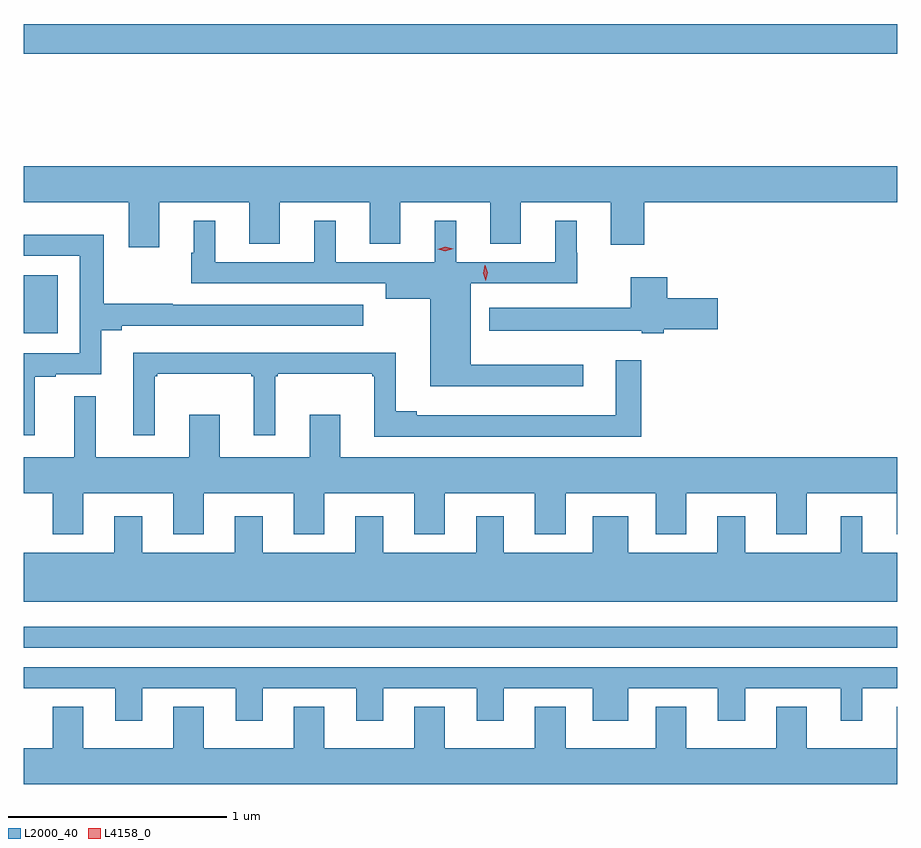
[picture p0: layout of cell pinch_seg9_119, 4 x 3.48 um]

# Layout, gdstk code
import gdstk
lib = gdstk.Library(unit=1e-6, precision=1e-09)
def R(c, l, rs):  # rectangles x0, y0, x1, y1
    for r in rs: c.add(gdstk.rectangle(r[:2], r[2:], *l))
def P(c, l, *ps):  # polygons
    for p in ps: c.add(gdstk.Polygon(p, *l))
L2000_40 = (2000, 40)
L4158_0 = (4158, 0)

pinch_seg9_119 = lib.new_cell('pinch_seg9_119')
R(pinch_seg9_119, L2000_40, [(826.114,1233.009,830.114,1233.105), (826.114,1234.448,826.27,1234.714), (826.114,1235.728,830.114,1235.864)])
P(pinch_seg9_119, L2000_40, [(826.735,1235.048),(827.147,1235.048),(827.147,1234.858),(827.287,1234.858),(827.287,1235.048),(827.699,1235.048),(827.699,1234.858),(827.839,1234.858),(827.839,1235.048),(828.251,1235.048),(828.251,1234.858),(828.391,1234.858),(828.391,1235.048),(828.803,1235.048),(828.803,1234.854),(828.956,1234.854),(828.956,1235.048),(830.114,1235.048),(830.114,1235.212),(826.114,1235.212),(826.114,1235.048),(826.595,1235.048),(826.595,1234.842),(826.735,1234.842)],
  [(828.676,1234.303),(828.16,1234.303),(828.16,1234.677),(828.648,1234.677),(828.648,1234.817),(828.646,1234.817),(828.646,1234.963),(828.548,1234.963),(828.548,1234.773),(828.094,1234.773),(828.094,1234.963),(827.996,1234.963),(827.996,1234.773),(827.542,1234.773),(827.542,1234.963),(827.444,1234.963),(827.444,1234.773),(826.99,1234.773),(826.99,1234.963),(826.892,1234.963),(826.892,1234.817),(826.881,1234.817),(826.881,1234.677),(827.771,1234.677),(827.771,1234.607),(827.975,1234.607),(827.975,1234.205),(828.676,1234.205)],
  [(826.165,1234.248),(826.261,1234.248),(826.261,1234.26),(826.468,1234.26),(826.468,1234.462),(826.564,1234.462),(826.564,1234.482),(827.668,1234.482),(827.668,1234.578),(826.796,1234.578),(826.796,1234.583),(826.48,1234.583),(826.48,1234.9),(826.114,1234.9),(826.114,1234.803),(826.371,1234.803),(826.371,1234.356),(826.114,1234.356),(826.114,1233.981),(826.165,1233.981)],
  [(829.044,1234.466),(829.291,1234.466),(829.291,1234.608),(829.061,1234.608),(829.061,1234.705),(828.893,1234.705),(828.893,1234.564),(828.245,1234.564),(828.245,1234.46),(828.944,1234.46),(828.944,1234.448),(829.044,1234.448)],
  [(828.941,1234.324),(828.824,1234.324),(828.824,1234.072),(827.914,1234.072),(827.914,1234.091),(827.818,1234.091),(827.818,1234.359),(826.616,1234.359),(826.616,1233.981),(826.714,1233.981),(826.714,1234.251),(826.726,1234.251),(826.726,1234.262),(827.157,1234.262),(827.157,1234.251),(827.168,1234.251),(827.168,1233.981),(827.266,1233.981),(827.266,1234.251),(827.278,1234.251),(827.278,1234.262),(827.709,1234.262),(827.709,1234.251),(827.72,1234.251),(827.72,1233.975),(828.941,1233.975)],
  [(827.351,1233.527),(827.491,1233.527),(827.491,1233.716),(827.903,1233.716),(827.903,1233.527),(828.043,1233.527),(828.043,1233.716),(828.455,1233.716),(828.455,1233.527),(828.595,1233.527),(828.595,1233.716),(829.007,1233.716),(829.007,1233.527),(829.147,1233.527),(829.147,1233.716),(829.559,1233.716),(829.559,1233.527),(829.699,1233.527),(829.699,1233.716),(830.111,1233.716),(830.111,1233.527),(830.114,1233.527),(830.114,1233.88),(827.563,1233.88),(827.563,1234.075),(827.423,1234.075),(827.423,1233.88),(827.011,1233.88),(827.011,1234.075),(826.871,1234.075),(826.871,1233.88),(826.444,1233.88),(826.444,1234.159),(826.346,1234.159),(826.346,1233.88),(826.114,1233.88),(826.114,1233.716),(826.247,1233.716),(826.247,1233.527),(826.387,1233.527),(826.387,1233.716),(826.799,1233.716),(826.799,1233.527),(826.939,1233.527),(826.939,1233.716),(827.351,1233.716)],
  [(830.114,1233.442),(829.954,1233.442),(829.954,1233.61),(829.856,1233.61),(829.856,1233.442),(829.417,1233.442),(829.417,1233.61),(829.289,1233.61),(829.289,1233.442),(828.883,1233.442),(828.883,1233.61),(828.719,1233.61),(828.719,1233.442),(828.313,1233.442),(828.313,1233.61),(828.185,1233.61),(828.185,1233.442),(827.761,1233.442),(827.761,1233.61),(827.633,1233.61),(827.633,1233.442),(827.209,1233.442),(827.209,1233.61),(827.081,1233.61),(827.081,1233.442),(826.657,1233.442),(826.657,1233.61),(826.529,1233.61),(826.529,1233.442),(826.114,1233.442),(826.114,1233.218),(830.114,1233.218)],
  [(826.657,1232.823),(827.084,1232.823),(827.084,1232.673),(827.209,1232.673),(827.209,1232.823),(827.636,1232.823),(827.636,1232.673),(827.761,1232.673),(827.761,1232.823),(828.188,1232.823),(828.188,1232.673),(828.313,1232.673),(828.313,1232.823),(828.719,1232.823),(828.719,1232.673),(828.883,1232.673),(828.883,1232.823),(829.292,1232.823),(829.292,1232.673),(829.417,1232.673),(829.417,1232.823),(829.856,1232.823),(829.856,1232.673),(829.954,1232.673),(829.954,1232.823),(830.114,1232.823),(830.114,1232.919),(826.114,1232.919),(826.114,1232.823),(826.532,1232.823),(826.532,1232.673),(826.657,1232.673)],
  [(829.007,1232.738),(829.007,1232.548),(828.595,1232.548),(828.595,1232.738),(828.455,1232.738),(828.455,1232.548),(828.043,1232.548),(828.043,1232.738),(827.903,1232.738),(827.903,1232.548),(827.491,1232.548),(827.491,1232.738),(827.351,1232.738),(827.351,1232.548),(826.939,1232.548),(826.939,1232.738),(826.799,1232.738),(826.799,1232.548),(826.387,1232.548),(826.387,1232.738),(826.247,1232.738),(826.247,1232.548),(826.114,1232.548),(826.114,1232.384),(830.114,1232.384),(830.114,1232.738),(830.111,1232.738),(830.111,1232.548),(829.699,1232.548),(829.699,1232.738),(829.559,1232.738),(829.559,1232.548),(829.147,1232.548),(829.147,1232.738)])
P(pinch_seg9_119, L4158_0, [(828.229,1234.688),(828.229,1234.688),(828.218,1234.723),(828.226,1234.759),(828.226,1234.759),(828.227,1234.759),(828.238,1234.724),(828.229,1234.688)],
  [(828.045,1234.823),(828.01,1234.832),(828.01,1234.832),(828.01,1234.833),(828.045,1234.843),(828.08,1234.834),(828.08,1234.834),(828.08,1234.834)])

lib.write_gds('pinch_seg9_119.gds')
